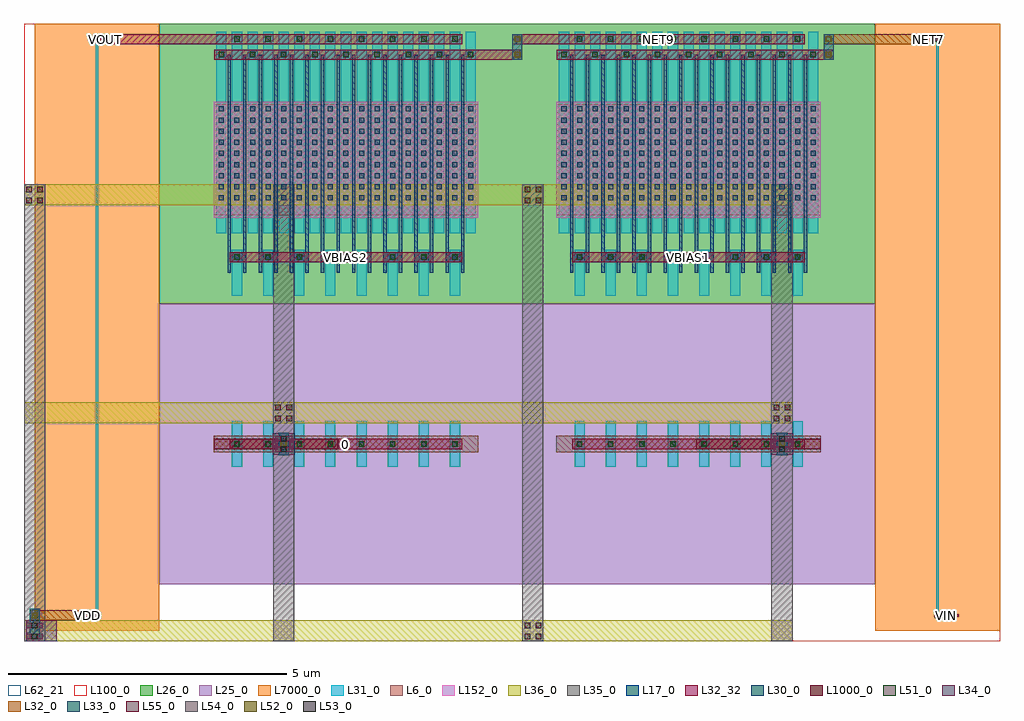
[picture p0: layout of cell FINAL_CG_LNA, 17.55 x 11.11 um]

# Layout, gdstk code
import gdstk
lib = gdstk.Library(unit=1e-6, precision=1e-09)
def R(c, l, rs):  # rectangles x0, y0, x1, y1
    for r in rs: c.add(gdstk.rectangle(r[:2], r[2:], *l))
def A(c, l, x, y, w, h, nx, ny, dx, dy):  # array of equal rectangles
    R(c, l, [(x+i*dx, y+j*dy, x+i*dx+w, y+j*dy+h) for i in range(nx) for j in range(ny)])
L6_0 = (6, 0)
L17_0 = (17, 0)
L25_0 = (25, 0)
L26_0 = (26, 0)
L30_0 = (30, 0)
L31_0 = (31, 0)
L32_0 = (32, 0)
L32_32 = (32, 32)
L33_0 = (33, 0)
L34_0 = (34, 0)
L35_0 = (35, 0)
L36_0 = (36, 0)
L51_0 = (51, 0)
L52_0 = (52, 0)
L53_0 = (53, 0)
L54_0 = (54, 0)
L55_0 = (55, 0)
L62_21 = (62, 21)
L100_0 = (100, 0)
L152_0 = (152, 0)
L1000_0 = (1000, 0)
L7000_0 = (7000, 0)

final_cg_lna = lib.new_cell('FINAL_CG_LNA')
R(final_cg_lna, L6_0, [(3.22,3.21,7.98,3.51), (9.38,3.21,14.14,3.51), (3.22,7.47,7.98,9.47), (9.38,7.47,14.14,9.47)])
A(final_cg_lna, L17_0, 3.47, 6.44, 0.06, 3.92, 16, 1, 0.28, 0)
A(final_cg_lna, L17_0, 9.63, 6.44, 0.06, 3.92, 16, 1, 0.28, 0)
A(final_cg_lna, L17_0, 3.47, 6.63, 0.34, 0.18, 8, 1, 0.56, 0)
A(final_cg_lna, L17_0, 9.63, 6.63, 0.34, 0.18, 8, 1, 0.56, 0)
R(final_cg_lna, L25_0, [(2.24,0.84,8.68,5.88), (8.68,0.84,15.12,5.88)])
R(final_cg_lna, L26_0, [(2.24,5.88,8.68,10.92), (8.68,5.88,15.12,10.92)])
A(final_cg_lna, L30_0, 3.595, 3.315, 0.09, 0.09, 8, 2, 0.56, 3.36)
A(final_cg_lna, L30_0, 9.755, 3.315, 0.09, 0.09, 8, 2, 0.56, 3.36)
A(final_cg_lna, L30_0, 3.315, 7.74, 0.09, 0.09, 3, 9, 0.28, 0.2)
A(final_cg_lna, L30_0, 3.875, 7.74, 0.09, 0.09, 3, 9, 0.28, 0.2)
A(final_cg_lna, L30_0, 4.435, 7.74, 0.09, 0.09, 3, 9, 0.28, 0.2)
A(final_cg_lna, L30_0, 4.995, 7.74, 0.09, 0.09, 3, 9, 0.28, 0.2)
A(final_cg_lna, L30_0, 5.555, 7.74, 0.09, 0.09, 3, 9, 0.28, 0.2)
A(final_cg_lna, L30_0, 6.115, 7.74, 0.09, 0.09, 3, 9, 0.28, 0.2)
A(final_cg_lna, L30_0, 6.675, 7.74, 0.09, 0.09, 3, 9, 0.28, 0.2)
A(final_cg_lna, L30_0, 7.235, 7.74, 0.09, 0.09, 3, 9, 0.28, 0.2)
A(final_cg_lna, L30_0, 9.475, 7.74, 0.09, 0.09, 3, 9, 0.28, 0.2)
A(final_cg_lna, L30_0, 10.035, 7.74, 0.09, 0.09, 3, 9, 0.28, 0.2)
A(final_cg_lna, L30_0, 10.595, 7.74, 0.09, 0.09, 3, 9, 0.28, 0.2)
A(final_cg_lna, L30_0, 11.155, 7.74, 0.09, 0.09, 3, 9, 0.28, 0.2)
A(final_cg_lna, L30_0, 11.715, 7.74, 0.09, 0.09, 3, 9, 0.28, 0.2)
A(final_cg_lna, L30_0, 12.275, 7.74, 0.09, 0.09, 3, 9, 0.28, 0.2)
A(final_cg_lna, L30_0, 12.835, 7.74, 0.09, 0.09, 3, 9, 0.28, 0.2)
A(final_cg_lna, L30_0, 13.395, 7.74, 0.09, 0.09, 3, 9, 0.28, 0.2)
A(final_cg_lna, L31_0, 3.55, 2.95, 0.18, 0.82, 8, 2, 0.56, 3.08)
A(final_cg_lna, L31_0, 9.71, 2.95, 0.18, 0.82, 8, 2, 0.56, 3.08)
A(final_cg_lna, L31_0, 3.27, 7.15, 0.18, 3.62, 17, 1, 0.28, 0)
A(final_cg_lna, L31_0, 9.43, 7.15, 0.18, 3.62, 17, 1, 0.28, 0)
R(final_cg_lna, L31_0, [(1.098,0.218,1.142,10.702), (16.218,0.218,16.262,10.702)])
R(final_cg_lna, L32_0, [(-0.09,0.19,0.84,0.37), (14.19,10.55,15.96,10.73)])
R(final_cg_lna, L32_32, [(0.738,0.258,1.182,0.302), (16.178,0.258,16.622,0.302), (3.51,3.27,7.69,3.45), (9.67,3.27,13.85,3.45), (3.51,6.63,7.69,6.81), (9.67,6.63,13.85,6.81), (3.23,10.27,8.77,10.45), (9.39,10.27,14.37,10.45), (1.4,10.55,7.69,10.73), (8.59,10.55,13.85,10.73), (1.058,10.618,1.502,10.662), (15.858,10.618,16.302,10.662)])
R(final_cg_lna, L33_0, [(-0.09,-0.15,0.09,0.4), (4.39,3.16,4.57,3.56), (13.35,3.16,13.53,3.56), (8.59,10.27,8.77,10.73), (14.19,10.27,14.37,10.73)])
R(final_cg_lna, L34_0, [(-0.15,-0.19,0.4,0.19), (4.28,3.17,4.68,3.55), (13.24,3.17,13.64,3.55)])
A(final_cg_lna, L35_0, -0.19, -0.19, 0.38, 8.22, 4, 1, 4.48, 0)
A(final_cg_lna, L36_0, -0.19, -0.19, 13.82, 0.38, 1, 3, 0, 3.92)
A(final_cg_lna, L51_0, 3.59, 3.31, 0.1, 0.1, 8, 2, 0.56, 3.36)
A(final_cg_lna, L51_0, 9.75, 3.31, 0.1, 0.1, 8, 2, 0.56, 3.36)
A(final_cg_lna, L51_0, 3.31, 10.31, 0.1, 0.1, 9, 1, 0.56, 0)
A(final_cg_lna, L51_0, 9.47, 10.31, 0.1, 0.1, 9, 1, 0.56, 0)
A(final_cg_lna, L51_0, 3.59, 10.59, 0.1, 0.1, 8, 1, 0.56, 0)
A(final_cg_lna, L51_0, 9.75, 10.59, 0.1, 0.1, 8, 1, 0.56, 0)
R(final_cg_lna, L51_0, [(1.07,0.23,1.17,0.33), (16.19,0.23,16.29,0.33), (1.07,10.59,1.17,10.69), (16.19,10.59,16.29,10.69)])
R(final_cg_lna, L52_0, [(-0.05,0.23,0.05,0.33), (4.43,3.31,4.53,3.41), (13.39,3.31,13.49,3.41), (8.63,10.31,8.73,10.41), (14.23,10.31,14.33,10.41), (8.63,10.59,8.73,10.69), (14.23,10.59,14.33,10.69)])
R(final_cg_lna, L53_0, [(-0.05,-0.15,0.05,-0.05), (-0.05,0.05,0.05,0.15), (4.43,3.21,4.53,3.31), (13.39,3.21,13.49,3.31), (4.43,3.41,4.53,3.51), (13.39,3.41,13.49,3.51)])
R(final_cg_lna, L54_0, [(-0.15,-0.15,-0.05,-0.05), (0.05,-0.15,0.15,-0.05), (-0.15,0.05,-0.05,0.15), (0.05,0.05,0.15,0.15), (4.33,3.21,4.43,3.31), (4.53,3.21,4.63,3.31), (13.29,3.21,13.39,3.31), (13.49,3.21,13.59,3.31), (4.33,3.41,4.43,3.51), (4.53,3.41,4.63,3.51), (13.29,3.41,13.39,3.51), (13.49,3.41,13.59,3.51)])
R(final_cg_lna, L55_0, [(-0.15,-0.15,-0.05,-0.05), (0.05,-0.15,0.15,-0.05), (8.81,-0.15,8.91,-0.05), (9.01,-0.15,9.11,-0.05), (-0.15,0.05,-0.05,0.15), (0.05,0.05,0.15,0.15), (8.81,0.05,8.91,0.15), (9.01,0.05,9.11,0.15), (4.33,3.77,4.43,3.87), (4.53,3.77,4.63,3.87), (13.29,3.77,13.39,3.87), (13.49,3.77,13.59,3.87), (4.33,3.97,4.43,4.07), (4.53,3.97,4.63,4.07), (13.29,3.97,13.39,4.07), (13.49,3.97,13.59,4.07), (-0.15,7.69,-0.05,7.79), (0.05,7.69,0.15,7.79), (8.81,7.69,8.91,7.79), (9.01,7.69,9.11,7.79), (-0.15,7.89,-0.05,7.99), (0.05,7.89,0.15,7.99), (8.81,7.89,8.91,7.99), (9.01,7.89,9.11,7.99)])
R(final_cg_lna, L62_21, [(-0.19,-0.19,17.36,10.92)])
R(final_cg_lna, L100_0, [(-0.19,-0.19,17.36,10.92)])
R(final_cg_lna, L152_0, [(3.22,7.428,7.98,9.512), (9.38,7.428,14.14,9.512)])
R(final_cg_lna, L1000_0, [(3.22,3.27,5.46,3.45), (11.9,3.27,14.14,3.45)])
R(final_cg_lna, L7000_0, [(0,0,2.24,10.92), (15.12,0,17.36,10.92)])
final_cg_lna.add(gdstk.Label('VDD', (0.96,0.28), layer=32, texttype=20))
final_cg_lna.add(gdstk.Label('VIN', (16.4,0.28), layer=32, texttype=20))
final_cg_lna.add(gdstk.Label('VOUT', (1.28,10.64), layer=32, texttype=20))
final_cg_lna.add(gdstk.Label('NET9', (11.22,10.64), layer=32, texttype=20))
final_cg_lna.add(gdstk.Label('NET7', (16.08,10.64), layer=32, texttype=20))
final_cg_lna.add(gdstk.Label('VBIAS2', (5.6,6.72), layer=32, texttype=20))
final_cg_lna.add(gdstk.Label('VBIAS1', (11.76,6.72), layer=32, texttype=20))
final_cg_lna.add(gdstk.Label('0', (5.6,3.36), layer=32, texttype=20))

lib.write_gds('FINAL_CG_LNA.gds')
